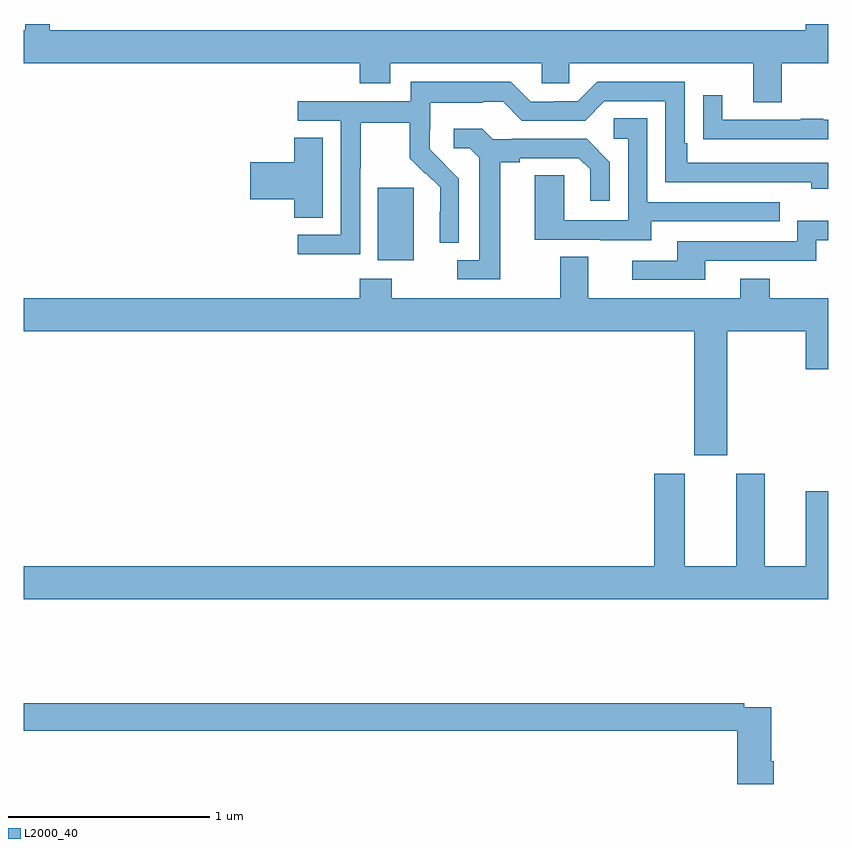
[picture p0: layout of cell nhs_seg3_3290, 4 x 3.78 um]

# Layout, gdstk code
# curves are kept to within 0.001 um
import gdstk
lib = gdstk.Library(unit=1e-6, precision=1e-09)
def R(c, l, rs):  # rectangles x0, y0, x1, y1
    for r in rs: c.add(gdstk.rectangle(r[:2], r[2:], *l))
def P(c, l, *ps):  # polygons
    for p in ps: c.add(gdstk.Polygon(p, *l))
L2000_40 = (2000, 40)

nhs_seg3_3290 = lib.new_cell('nhs_seg3_3290')
R(nhs_seg3_3290, L2000_40, [(282.761,745.226,282.94,745.587)])
P(nhs_seg3_3290, L2000_40, [(284.767,746.204),(285,746.204),(285,746.4),(284.888,746.4),(284.888,746.368),(281.131,746.368),(281.131,746.4),(281.009,746.4),(281.009,746.368),(281,746.368),(281,746.204),(282.671,746.204),(282.671,746.105),(282.823,746.105),(282.823,746.204),(283.575,746.204),(283.575,746.106),(283.713,746.106),(283.713,746.204),(284.627,746.204),(284.627,746.01),(284.767,746.01)],
  [(282.672,745.684),(282.675,745.684),(282.675,745.908),(282.919,745.908),(282.919,745.733),(282.996,745.656),(282.999,745.659),(283.07,745.589),(283.07,745.466),(283.068,745.466),(283.068,745.312),(283.164,745.312),(283.164,745.63),(283.018,745.778),(283.018,745.875),(283.02,745.875),(283.02,746.009),(283.283,746.009),(283.283,746.013),(283.383,746.013),(283.476,745.92),(283.791,745.92),(283.887,746.016),(284.19,746.016),(284.19,745.614),(284.915,745.614),(284.915,745.58),(285,745.58),(285,745.71),(284.299,745.71),(284.299,745.807),(284.286,745.807),(284.286,746.112),(283.851,746.112),(283.755,746.016),(283.637,746.016),(283.637,746.013),(283.521,746.013),(283.421,746.113),(282.924,746.113),(282.924,746.016),(282.363,746.016),(282.363,745.92),(282.576,745.92),(282.576,745.353),(282.363,745.353),(282.363,745.255),(282.672,745.255)],
  [(285,745.923),(284.975,745.923),(284.975,745.928),(284.863,745.928),(284.863,745.923),(284.473,745.923),(284.473,746.047),(284.377,746.047),(284.377,745.828),(284.479,745.828),(284.479,745.827),(285,745.827)],
  [(284.119,745.419),(284.759,745.419),(284.759,745.515),(284.1,745.515),(284.1,745.931),(283.932,745.931),(283.932,745.83),(284.004,745.83),(284.004,745.425),(283.686,745.425),(283.686,745.649),(283.541,745.649),(283.541,745.329),(283.865,745.329),(283.865,745.325),(284.119,745.325)],
  [(283.369,745.712),(283.465,745.712),(283.465,745.734),(283.76,745.734),(283.817,745.677),(283.817,745.521),(283.914,745.521),(283.914,745.714),(283.798,745.83),(283.426,745.83),(283.426,745.827),(283.332,745.827),(283.28,745.879),(283.137,745.879),(283.137,745.782),(283.218,745.782),(283.265,745.735),(283.265,745.227),(283.155,745.227),(283.155,745.131),(283.369,745.131)],
  [(282.487,745.835),(282.344,745.835),(282.344,745.712),(282.126,745.712),(282.126,745.529),(282.344,745.529),(282.344,745.438),(282.487,745.438)],
  [(284.389,745.224),(284.94,745.224),(284.94,745.326),(285,745.326),(285,745.423),(284.844,745.423),(284.844,745.32),(284.249,745.32),(284.249,745.224),(284.025,745.224),(284.025,745.128),(284.389,745.128)],
  [(284.497,744.872),(284.888,744.872),(284.888,744.684),(285,744.684),(285,745.036),(284.709,745.036),(284.709,745.135),(284.561,745.135),(284.561,745.036),(283.807,745.036),(283.807,745.244),(283.667,745.244),(283.667,745.036),(282.831,745.036),(282.831,745.135),(282.671,745.135),(282.671,745.036),(281,745.036),(281,744.872),(284.333,744.872),(284.333,744.258),(284.497,744.258)],
  [(285,744.079),(284.888,744.079),(284.888,743.704),(284.683,743.704),(284.683,744.166),(284.543,744.166),(284.543,743.704),(284.287,743.704),(284.287,744.166),(284.135,744.166),(284.135,743.704),(281,743.704),(281,743.54),(285,743.54)],
  [(284.729,742.735),(284.716,742.735),(284.716,743.004),(284.582,743.004),(284.582,743.024),(281,743.024),(281,742.888),(284.546,742.888),(284.546,742.623),(284.729,742.623)])

lib.write_gds('nhs_seg3_3290.gds')
